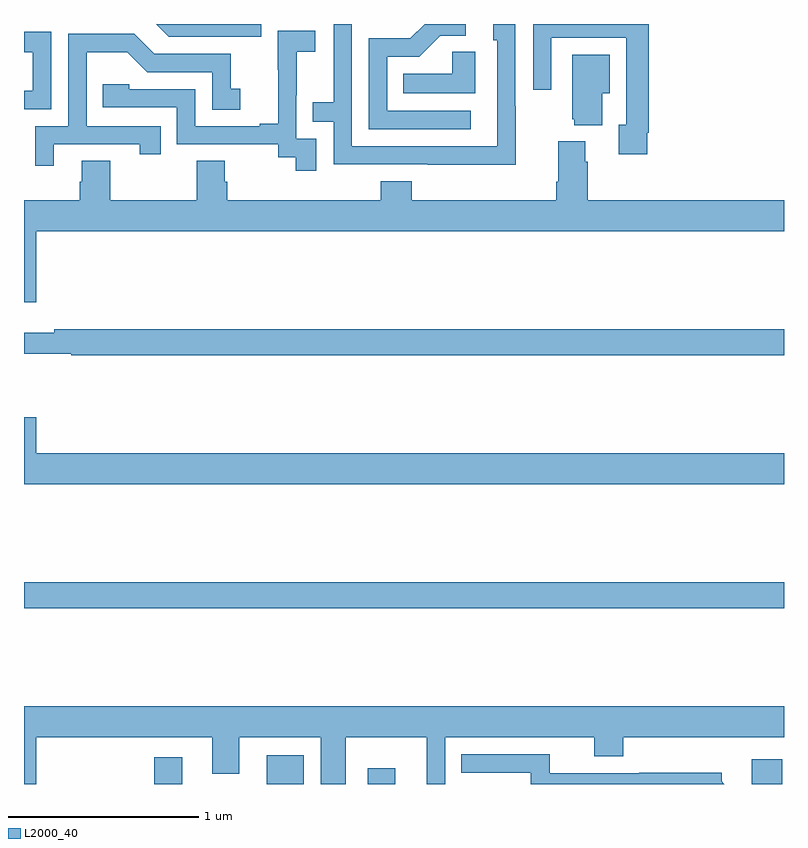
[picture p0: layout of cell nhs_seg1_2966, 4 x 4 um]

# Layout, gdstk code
import gdstk
lib = gdstk.Library(unit=1e-6, precision=1e-09)
def R(c, l, rs):  # rectangles x0, y0, x1, y1
    for r in rs: c.add(gdstk.rectangle(r[:2], r[2:], *l))
def P(c, l, *ps):  # polygons
    for p in ps: c.add(gdstk.Polygon(p, *l))
L2000_40 = (2000, 40)

nhs_seg1_2966 = lib.new_cell('nhs_seg1_2966')
R(nhs_seg1_2966, L2000_40, [(273.686,506.199,273.832,506.341), (274.277,506.199,274.473,506.35), (274.808,506.199,274.954,506.281), (276.829,506.199,276.99,506.329), (273,507.124,277,507.26)])
P(nhs_seg1_2966, L2000_40, [(275.589,509.765),(275.586,509.765),(275.586,510.199),(275.471,510.199),(275.471,510.114),(275.49,510.114),(275.49,509.556),(274.725,509.556),(274.725,510.199),(274.629,510.199),(274.629,509.786),(274.519,509.786),(274.519,509.685),(274.629,509.685),(274.629,509.46),(275.125,509.46),(275.125,509.459),(275.589,509.459)],
  [(276.28,509.626),(276.287,509.626),(276.287,510.199),(275.679,510.199),(275.679,509.853),(275.775,509.853),(275.775,510.126),(276.171,510.126),(276.171,509.67),(276.131,509.67),(276.131,509.514),(276.28,509.514)],
  [(275.35,509.742),(274.911,509.742),(274.911,510.027),(275.08,510.027),(275.191,510.138),(275.326,510.138),(275.326,510.199),(275.11,510.199),(275.034,510.123),(274.815,510.123),(274.815,509.646),(275.35,509.646)],
  [(274.248,510.199),(273.695,510.199),(273.762,510.132),(274.248,510.132)],
  [(274.539,509.595),(274.434,509.595),(274.434,509.825),(274.436,509.825),(274.436,510.053),(274.534,510.053),(274.534,510.163),(274.336,510.163),(274.336,509.957),(274.337,509.957),(274.337,509.674),(274.241,509.674),(274.241,509.661),(273.9,509.661),(273.9,509.856),(273.555,509.856),(273.555,509.883),(273.415,509.883),(273.415,509.76),(273.804,509.76),(273.804,509.565),(274.338,509.565),(274.338,509.497),(274.431,509.497),(274.431,509.427),(274.539,509.427)],
  [(273.144,510.157),(273,510.157),(273,510.051),(273.047,510.051),(273.047,509.847),(273,509.847),(273,509.751),(273.144,509.751)],
  [(273.157,509.565),(273.608,509.565),(273.608,509.514),(273.719,509.514),(273.719,509.661),(273.33,509.661),(273.33,510.05),(273.544,510.05),(273.648,509.946),(273.99,509.946),(273.99,509.748),(274.138,509.748),(274.138,509.857),(274.089,509.857),(274.089,510.042),(273.685,510.042),(273.58,510.147),(273.234,510.147),(273.234,509.661),(273.06,509.661),(273.06,509.454),(273.157,509.454)],
  [(275.374,510.053),(275.253,510.053),(275.253,509.938),(274.996,509.938),(274.996,509.834),(275.374,509.834)],
  [(276.043,509.834),(276.082,509.834),(276.082,510.037),(275.885,510.037),(275.885,509.697),(275.897,509.697),(275.897,509.666),(276.043,509.666)],
  [(273.064,509.108),(277,509.108),(277,509.272),(275.966,509.272),(275.966,509.474),(275.953,509.474),(275.953,509.581),(275.813,509.581),(275.813,509.368),(275.801,509.368),(275.801,509.272),(275.042,509.272),(275.042,509.371),(274.877,509.371),(274.877,509.272),(274.07,509.272),(274.07,509.37),(274.057,509.37),(274.057,509.48),(273.91,509.48),(273.91,509.272),(273.453,509.272),(273.453,509.48),(273.305,509.48),(273.305,509.37),(273.293,509.37),(273.293,509.272),(273,509.272),(273,508.734),(273.064,508.734)],
  [(277,508.592),(273.16,508.592),(273.16,508.573),(273,508.573),(273,508.464),(273.248,508.464),(273.248,508.456),(277,508.456)],
  [(277,507.94),(273.064,507.94),(273.064,508.129),(273,508.129),(273,507.776),(277,507.776)],
  [(273.064,506.444),(273.992,506.444),(273.992,506.254),(274.132,506.254),(274.132,506.444),(274.562,506.444),(274.562,506.199),(274.693,506.199),(274.693,506.444),(275.12,506.444),(275.12,506.199),(275.217,506.199),(275.217,506.444),(276.002,506.444),(276.002,506.345),(276.155,506.345),(276.155,506.444),(277,506.444),(277,506.608),(273,506.608),(273,506.199),(273.064,506.199)],
  [(276.672,506.213),(276.672,506.258),(276.238,506.258),(276.238,506.256),(275.766,506.256),(275.766,506.355),(275.302,506.355),(275.302,506.259),(275.666,506.259),(275.666,506.199),(276.686,506.199)])

lib.write_gds('nhs_seg1_2966.gds')
